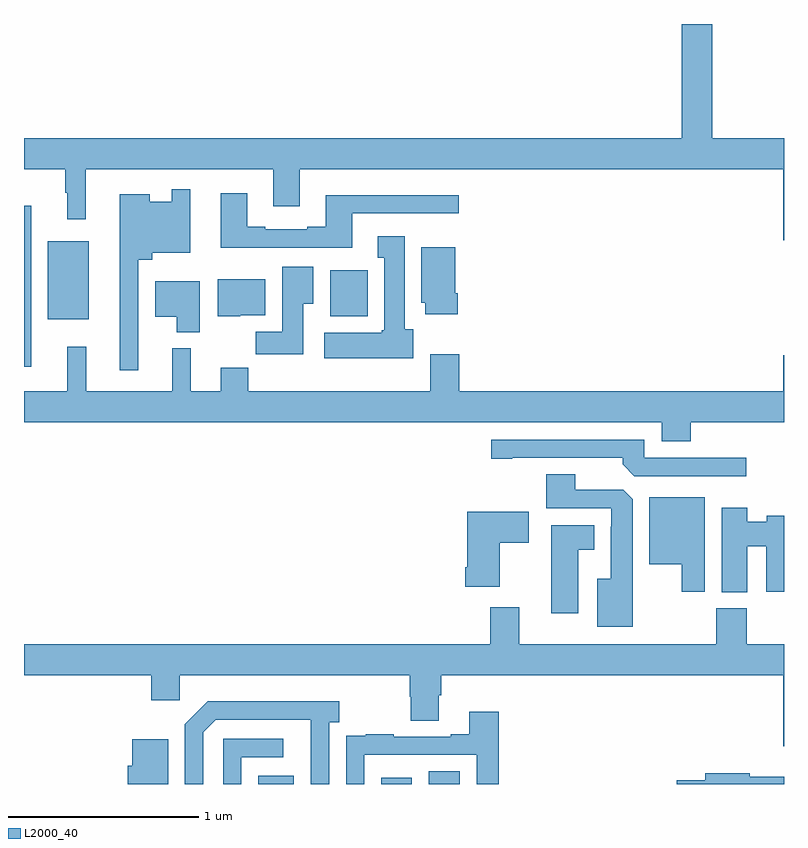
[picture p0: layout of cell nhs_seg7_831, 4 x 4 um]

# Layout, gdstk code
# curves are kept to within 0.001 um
import gdstk
lib = gdstk.Library(unit=1e-6, precision=1e-09)
def R(c, l, rs):  # rectangles x0, y0, x1, y1
    for r in rs: c.add(gdstk.rectangle(r[:2], r[2:], *l))
def P(c, l, *ps):  # polygons
    for p in ps: c.add(gdstk.Polygon(p, *l))
L2000_40 = (2000, 40)

nhs_seg7_831 = lib.new_cell('nhs_seg7_831')
R(nhs_seg7_831, L2000_40, [(174.233,1044,174.421,1044.043), (174.881,1044,175.042,1044.034), (175.13,1044,175.294,1044.068), (173,1046.196,173.037,1047.043), (173.126,1046.447,173.341,1046.857), (174.611,1046.462,174.808,1046.704)])
P(nhs_seg7_831, L2000_40, [(177,1047.4),(176.622,1047.4),(176.622,1048),(176.462,1048),(176.462,1047.4),(173,1047.4),(173,1047.236),(173.217,1047.236),(173.217,1047.113),(173.228,1047.113),(173.228,1046.973),(173.326,1046.973),(173.326,1047.236),(174.311,1047.236),(174.311,1047.042),(174.451,1047.042),(174.451,1047.236),(176.996,1047.236),(176.996,1046.862),(177,1046.862)],
  [(173.601,1046.759),(173.675,1046.759),(173.675,1046.795),(173.874,1046.795),(173.874,1047.13),(173.778,1047.13),(173.778,1047.064),(173.662,1047.064),(173.662,1047.103),(173.504,1047.103),(173.504,1046.178),(173.601,1046.178)],
  [(174.263,1046.823),(174.727,1046.823),(174.727,1047.003),(175.288,1047.003),(175.288,1047.1),(174.587,1047.1),(174.587,1046.932),(174.491,1046.932),(174.491,1046.919),(174.271,1046.919),(174.271,1046.932),(174.175,1046.932),(174.175,1047.109),(174.035,1047.109),(174.035,1046.822),(174.263,1046.822)],
  [(175.048,1046.394),(175.003,1046.394),(175.003,1046.884),(174.863,1046.884),(174.863,1046.771),(174.896,1046.771),(174.896,1046.388),(174.883,1046.388),(174.883,1046.374),(174.579,1046.374),(174.579,1046.24),(175.048,1046.24)],
  [(175.283,1046.584),(175.27,1046.584),(175.27,1046.824),(175.091,1046.824),(175.091,1046.532),(175.112,1046.532),(175.112,1046.472),(175.283,1046.472)],
  [(174.469,1046.528),(174.523,1046.528),(174.523,1046.722),(174.359,1046.722),(174.359,1046.38),(174.22,1046.38),(174.22,1046.262),(174.469,1046.262)],
  [(174.138,1046.468),(174.271,1046.468),(174.271,1046.656),(174.02,1046.656),(174.02,1046.462),(174.138,1046.462)],
  [(173.926,1046.647),(173.69,1046.647),(173.69,1046.459),(173.804,1046.459),(173.804,1046.378),(173.926,1046.378)],
  [(176.51,1045.904),(177,1045.904),(177,1046.257),(176.996,1046.257),(176.996,1046.068),(175.292,1046.068),(175.292,1046.263),(175.139,1046.263),(175.139,1046.068),(174.179,1046.068),(174.179,1046.192),(174.035,1046.192),(174.035,1046.068),(173.878,1046.068),(173.878,1046.293),(173.78,1046.293),(173.78,1046.068),(173.327,1046.068),(173.327,1046.302),(173.228,1046.302),(173.228,1046.068),(173,1046.068),(173,1045.904),(176.357,1045.904),(176.357,1045.805),(176.51,1045.805)],
  [(176.8,1045.716),(176.265,1045.716),(176.265,1045.812),(175.458,1045.812),(175.458,1045.711),(175.57,1045.711),(175.57,1045.716),(176.15,1045.716),(176.15,1045.682),(176.211,1045.62),(176.8,1045.62)],
  [(176.203,1045.499),(176.154,1045.548),(175.9,1045.548),(175.9,1045.631),(175.748,1045.631),(175.748,1045.452),(176.091,1045.452),(176.091,1045.355),(176.087,1045.355),(176.087,1045.081),(176.018,1045.081),(176.018,1044.827),(176.203,1044.827)],
  [(176.584,1045.51),(176.291,1045.51),(176.291,1045.157),(176.462,1045.157),(176.462,1045.011),(176.584,1045.011)],
  [(176.806,1045.252),(176.906,1045.252),(176.906,1045.011),(177,1045.011),(177,1045.412),(176.91,1045.412),(176.91,1045.381),(176.806,1045.381),(176.806,1045.453),(176.672,1045.453),(176.672,1045.009),(176.806,1045.009)],
  [(175.504,1045.27),(175.657,1045.27),(175.657,1045.432),(175.334,1045.432),(175.334,1045.141),(175.322,1045.141),(175.322,1045.037),(175.504,1045.037)],
  [(175.918,1045.232),(176.002,1045.232),(176.002,1045.363),(175.775,1045.363),(175.775,1044.9),(175.918,1044.9)],
  [(177,1044.736),(176.804,1044.736),(176.804,1044.924),(176.644,1044.924),(176.644,1044.736),(175.606,1044.736),(175.606,1044.93),(175.454,1044.93),(175.454,1044.736),(173,1044.736),(173,1044.572),(173.669,1044.572),(173.669,1044.441),(173.82,1044.441),(173.82,1044.572),(175.031,1044.572),(175.031,1044.459),(175.036,1044.459),(175.036,1044.334),(175.183,1044.334),(175.183,1044.466),(175.196,1044.466),(175.196,1044.572),(176.996,1044.572),(176.996,1044.198),(177,1044.198)],
  [(173.943,1044.273),(174.009,1044.339),(174.509,1044.339),(174.51,1044),(174.606,1044),(174.606,1044.326),(174.658,1044.326),(174.658,1044.436),(173.968,1044.436),(173.847,1044.315),(173.847,1044),(173.943,1044)],
  [(174.792,1044.153),(175.383,1044.153),(175.383,1044),(175.499,1044),(175.499,1044.379),(175.343,1044.379),(175.343,1044.262),(175.247,1044.262),(175.247,1044.249),(174.947,1044.249),(174.947,1044.262),(174.799,1044.262),(174.799,1044.255),(174.697,1044.255),(174.697,1044.146),(174.696,1044.146),(174.696,1044),(174.792,1044)],
  [(174.144,1044.141),(174.364,1044.141),(174.364,1044.237),(174.048,1044.237),(174.048,1044),(174.144,1044)],
  [(173.758,1044.235),(173.57,1044.235),(173.57,1044.096),(173.546,1044.096),(173.546,1044),(173.758,1044)],
  [(177,1044.037),(176.82,1044.037),(176.82,1044.056),(176.585,1044.056),(176.585,1044.02),(176.436,1044.02),(176.436,1044),(177,1044)])

lib.write_gds('nhs_seg7_831.gds')
